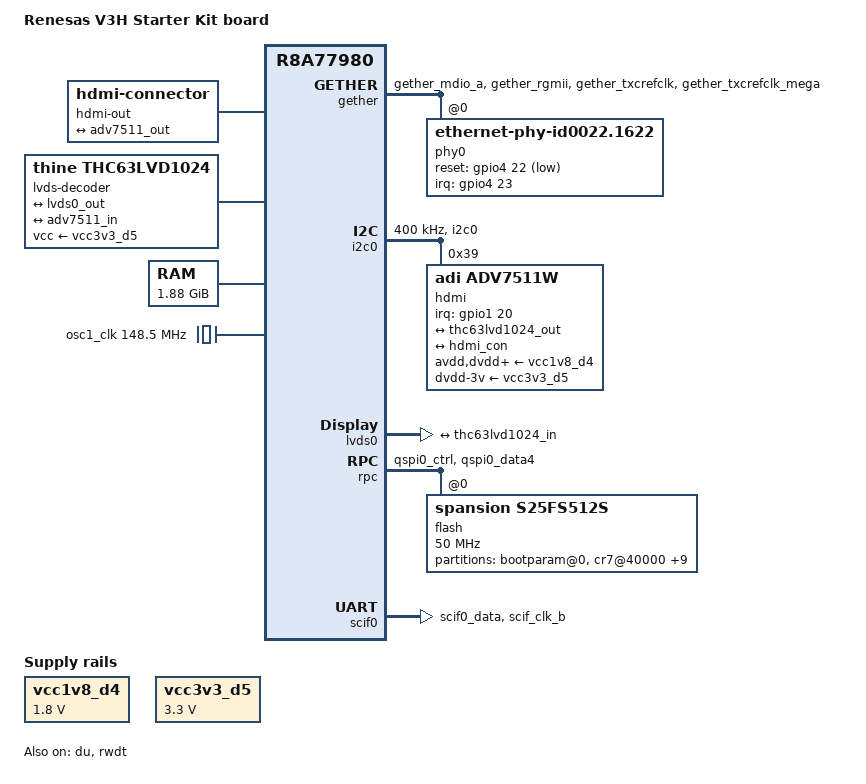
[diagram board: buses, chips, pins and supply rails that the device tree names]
// SPDX-License-Identifier: GPL-2.0
/*
 * Device Tree Source for the V3H Starter Kit board
 *
 * Copyright (C) 2018 Renesas Electronics Corp.
 * Copyright (C) 2018 Cogent Embedded, Inc.
 */

/dts-v1/;
#include "r8a77980.dtsi"
#include <dt-bindings/gpio/gpio.h>

/ {
	model = "Renesas V3H Starter Kit board";
	compatible = "renesas,v3hsk", "renesas,r8a77980";

	aliases {
		i2c0 = &i2c0;
		i2c1 = &i2c1;
		i2c2 = &i2c2;
		i2c3 = &i2c3;
		i2c4 = &i2c4;
		i2c5 = &i2c5;
		serial0 = &scif0;
		ethernet0 = &gether;
	};

	chosen {
		stdout-path = "serial0:115200n8";
	};

	hdmi-out {
		compatible = "hdmi-connector";
		type = "a";

		port {
			hdmi_con: endpoint {
				remote-endpoint = <&adv7511_out>;
			};
		};
	};

	lvds-decoder {
		compatible = "thine,thc63lvd1024";
		vcc-supply = <&vcc3v3_d5>;

		ports {
			#address-cells = <1>;
			#size-cells = <0>;

			port@0 {
				reg = <0>;
				thc63lvd1024_in: endpoint {
					remote-endpoint = <&lvds0_out>;
				};
			};

			port@2 {
				reg = <2>;
				thc63lvd1024_out: endpoint {
					remote-endpoint = <&adv7511_in>;
				};
			};
		};
	};

	memory@48000000 {
		device_type = "memory";
		/* first 128MB is reserved for secure area. */
		reg = <0 0x48000000 0 0x78000000>;
	};

	osc1_clk: osc1-clock {
		compatible = "fixed-clock";
		#clock-cells = <0>;
		clock-frequency = <148500000>;
	};

	vcc1v8_d4: regulator-0 {
		compatible = "regulator-fixed";
		regulator-name = "VCC1V8_D4";
		regulator-min-microvolt = <1800000>;
		regulator-max-microvolt = <1800000>;
		regulator-boot-on;
		regulator-always-on;
	};

	vcc3v3_d5: regulator-1 {
		compatible = "regulator-fixed";
		regulator-name = "VCC3V3_D5";
		regulator-min-microvolt = <3300000>;
		regulator-max-microvolt = <3300000>;
		regulator-boot-on;
		regulator-always-on;
	};
};

&du {
	clocks = <&cpg CPG_MOD 724>,
		 <&osc1_clk>;
	clock-names = "du.0", "dclkin.0";
	status = "okay";
};

&extal_clk {
	clock-frequency = <16666666>;
};

&extalr_clk {
	clock-frequency = <32768>;
};

&gether {
	pinctrl-0 = <&gether_pins>;
	pinctrl-names = "default";

	phy-mode = "rgmii";
	phy-handle = <&phy0>;
	renesas,no-ether-link;
	status = "okay";

	phy0: ethernet-phy@0 {
		compatible = "ethernet-phy-id0022.1622",
			     "ethernet-phy-ieee802.3-c22";
		rxc-skew-ps = <1500>;
		reg = <0>;
		interrupts-extended = <&gpio4 23 IRQ_TYPE_LEVEL_LOW>;
		reset-gpios = <&gpio4 22 GPIO_ACTIVE_LOW>;
	};
};

&i2c0 {
	pinctrl-0 = <&i2c0_pins>;
	pinctrl-names = "default";

	status = "okay";
	clock-frequency = <400000>;

	hdmi@39 {
		compatible = "adi,adv7511w";
		#sound-dai-cells = <0>;
		reg = <0x39>;
		interrupts-extended = <&gpio1 20 IRQ_TYPE_LEVEL_LOW>;
		avdd-supply = <&vcc1v8_d4>;
		dvdd-supply = <&vcc1v8_d4>;
		pvdd-supply = <&vcc1v8_d4>;
		bgvdd-supply = <&vcc1v8_d4>;
		dvdd-3v-supply = <&vcc3v3_d5>;

		adi,input-depth = <8>;
		adi,input-colorspace = "rgb";
		adi,input-clock = "1x";

		ports {
			#address-cells = <1>;
			#size-cells = <0>;

			port@0 {
				reg = <0>;
				adv7511_in: endpoint {
					remote-endpoint = <&thc63lvd1024_out>;
				};
			};

			port@1 {
				reg = <1>;
				adv7511_out: endpoint {
					remote-endpoint = <&hdmi_con>;
				};
			};
		};
	};
};

&lvds0 {
	status = "okay";

	ports {
		port@1 {
			lvds0_out: endpoint {
				remote-endpoint = <&thc63lvd1024_in>;
			};
		};
	};
};

&pfc {
	gether_pins: gether {
		groups = "gether_mdio_a", "gether_rgmii",
			 "gether_txcrefclk", "gether_txcrefclk_mega";
		function = "gether";
	};

	i2c0_pins: i2c0 {
		groups = "i2c0";
		function = "i2c0";
	};

	qspi0_pins: qspi0 {
		groups = "qspi0_ctrl", "qspi0_data4";
		function = "qspi0";
	};

	scif0_pins: scif0 {
		groups = "scif0_data";
		function = "scif0";
	};

	scif_clk_pins: scif_clk {
		groups = "scif_clk_b";
		function = "scif_clk";
	};
};

&rpc {
	pinctrl-0 = <&qspi0_pins>;
	pinctrl-names = "default";

	status = "okay";

	flash@0 {
		compatible = "spansion,s25fs512s", "jedec,spi-nor";
		reg = <0>;
		spi-max-frequency = <50000000>;
		spi-rx-bus-width = <4>;

		partitions {
			compatible = "fixed-partitions";
			#address-cells = <1>;
			#size-cells = <1>;

			bootparam@0 {
				reg = <0x00000000 0x040000>;
				read-only;
			};
			cr7@40000 {
				reg = <0x00040000 0x080000>;
				read-only;
			};
			cert_header_sa3@c0000 {
				reg = <0x000c0000 0x080000>;
				read-only;
			};
			bl2@140000 {
				reg = <0x00140000 0x040000>;
				read-only;
			};
			cert_header_sa6@180000 {
				reg = <0x00180000 0x040000>;
				read-only;
			};
			bl31@1c0000 {
				reg = <0x001c0000 0x460000>;
				read-only;
			};
			uboot@640000 {
				reg = <0x00640000 0x0c0000>;
				read-only;
			};
			uboot-env@700000 {
				reg = <0x00700000 0x040000>;
				read-only;
			};
			dtb@740000 {
				reg = <0x00740000 0x080000>;
			};
			kernel@7c0000 {
				reg = <0x007c0000 0x1400000>;
			};
			user@1bc0000 {
				reg = <0x01bc0000 0x2440000>;
			};
		};
	};
};

&rwdt {
	timeout-sec = <60>;
	status = "okay";
};

&scif0 {
	pinctrl-0 = <&scif0_pins>, <&scif_clk_pins>;
	pinctrl-names = "default";

	status = "okay";
};

&scif_clk {
	clock-frequency = <14745600>;
};
